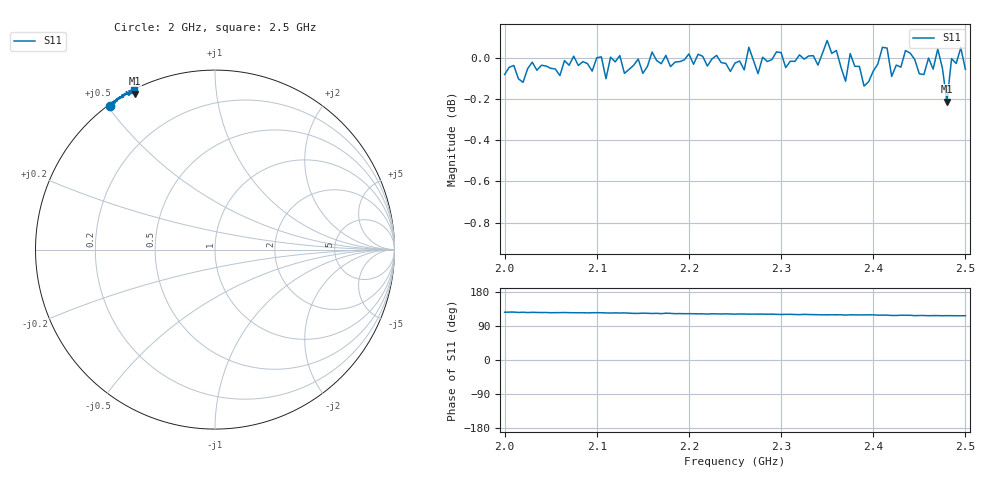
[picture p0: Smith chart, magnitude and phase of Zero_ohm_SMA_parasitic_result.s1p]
# HZ S RI R 50
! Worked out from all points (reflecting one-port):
!   101 points, 2 GHz to 2.5 GHz, reference 50 ohm
!   lowest |S11| = -0.2 dB at 2.48 GHz (marker M1), VSWR 82.04, Z = 0.838 + j30.6 ohm
!   phase of S11 starts at 126 deg and turns -9 deg over the sweep
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2e9  -0.5828 0.8013
2.01e9  -0.5921 0.8006
2.015e9  -0.5731 0.8053
2.05e9  -0.5673 0.8165
2.065e9  -0.5771 0.8149
2.125e9  -0.5599 0.8302
2.13e9  -0.5589 0.8189
2.145e9  -0.544 0.8384
2.15e9  -0.5489 0.8256
2.17e9  -0.5334 0.8421
2.175e9  -0.5527 0.8351
2.19e9  -0.5356 0.8421
2.25e9  -0.5142 0.8543
2.315e9  -0.5 0.8638
2.35e9  -0.4939 0.8808
2.365e9  -0.4889 0.8664
2.37e9  -0.4716 0.8671
2.375e9  -0.4906 0.8742
2.395e9  -0.4819 0.8611
2.415e9  -0.4779 0.8847
2.42e9  -0.4568 0.878
2.44e9  -0.4711 0.8852
2.445e9  -0.4536 0.8903
2.455e9  -0.4565 0.8793
2.47e9  -0.4582 0.8945
2.48e9  -0.4437 0.8692
2.485e9  -0.4534 0.8909
2.5e9  -0.4486 0.8866
